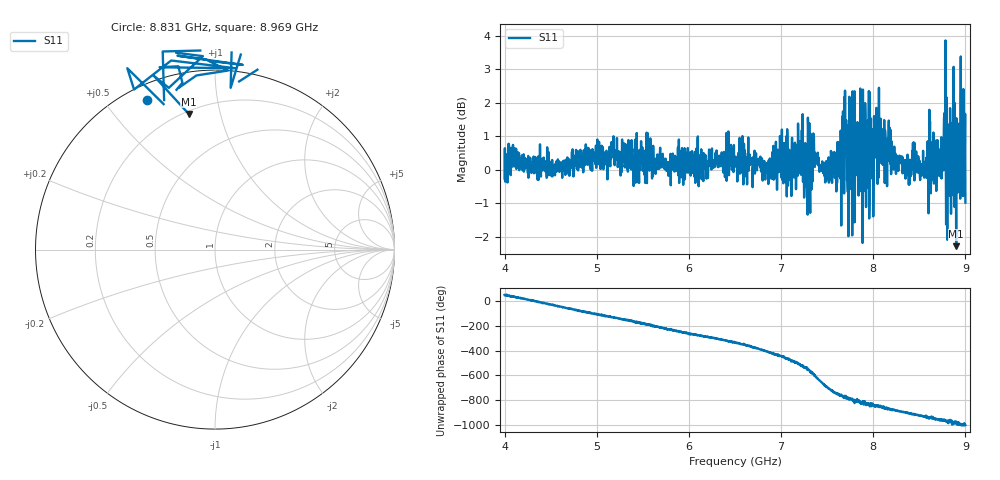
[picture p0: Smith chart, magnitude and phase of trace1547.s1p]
! Created with skrf 1.8.0 (http://scikit-rf.org).
# Hz S RI R 50.0
!freq ReS11 ImS11
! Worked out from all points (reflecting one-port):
!   1601 points, 4 GHz to 9 GHz, reference 50 ohm
!   lowest |S11| = -2.3 dB at 8.9 GHz (marker M1), VSWR 7.66, Z = 10.9 + j40.1 ohm
!   phase of S11 starts at 51 deg and turns -1051 deg over the sweep
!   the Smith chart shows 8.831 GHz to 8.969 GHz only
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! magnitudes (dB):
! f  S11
! 4 GHz  -0.3
! 4.1 GHz  0.5
! 4.625 GHz  -0.2
! 5.25 GHz  0.1
! 5.875 GHz  0.4
! 6.5 GHz  0.2
! 6.825 GHz  -0.2
! 7.125 GHz  0.4
! 7.209 GHz  0.9
! 7.262 GHz  0.8
! 7.281 GHz  0.7
! 7.328 GHz  0.2
! 7.372 GHz  0.4
! 7.512 GHz  -0.1
! 7.619 GHz  0.4
! 7.688 GHz  2.2
! 7.75 GHz  -0.2
! 7.909 GHz  1.1
! 7.962 GHz  2.3
! 7.981 GHz  0.3
! 8.047 GHz  -0.4
! 8.375 GHz  0.1
! 8.738 GHz  1.0
! 8.759 GHz  0.4
! 8.844 GHz  -1.3
! 8.9 GHz  -2.3
! 8.972 GHz  1.1
! 9 GHz  -1.0
